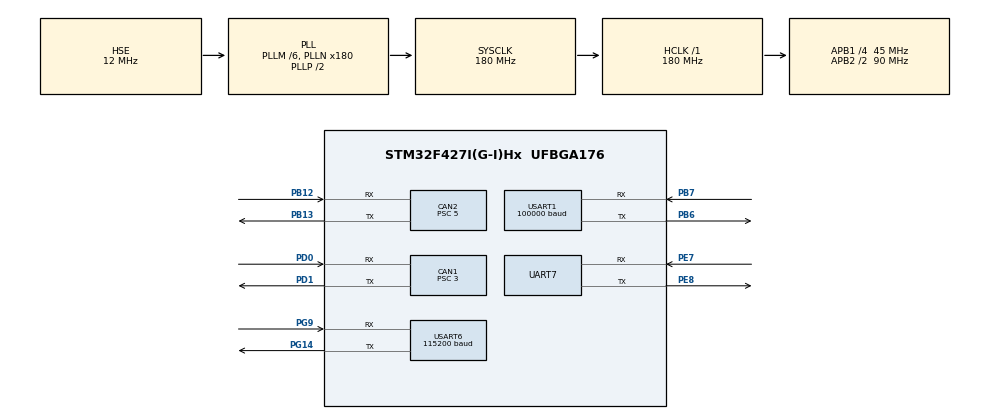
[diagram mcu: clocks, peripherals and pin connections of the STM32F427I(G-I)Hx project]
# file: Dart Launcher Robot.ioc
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CAN1.BS1=CAN_BS1_13TQ
CAN1.CalculateBaudRate=1000000
CAN1.CalculateTimeBit=1000
CAN1.CalculateTimeQuantum=66.66666666666666
CAN1.Prescaler=3
CAN2.BS1=CAN_BS1_7TQ
CAN2.CalculateBaudRate=1000000
CAN2.CalculateTimeBit=1000
CAN2.CalculateTimeQuantum=111.11111111111111
CAN2.Prescaler=5
Dma.Request0=USART1_RX
Dma.Request1=USART6_RX
Dma.Request2=UART7_RX
Dma.Request3=UART7_TX
Dma.Request4=USART6_TX
Dma.UART7_RX.2.Direction=DMA_PERIPH_TO_MEMORY
Dma.UART7_RX.2.FIFOMode=DMA_FIFOMODE_DISABLE
Dma.UART7_RX.2.Instance=DMA1_Stream3
Dma.UART7_RX.2.MemDataAlignment=DMA_MDATAALIGN_BYTE
Dma.UART7_RX.2.MemInc=DMA_MINC_ENABLE
Dma.UART7_RX.2.Mode=DMA_CIRCULAR
Dma.UART7_RX.2.PeriphDataAlignment=DMA_PDATAALIGN_BYTE
Dma.UART7_RX.2.PeriphInc=DMA_PINC_DISABLE
Dma.UART7_RX.2.Priority=DMA_PRIORITY_LOW
Dma.UART7_TX.3.Direction=DMA_MEMORY_TO_PERIPH
Dma.UART7_TX.3.FIFOMode=DMA_FIFOMODE_DISABLE
Dma.UART7_TX.3.Instance=DMA1_Stream1
Dma.UART7_TX.3.MemDataAlignment=DMA_MDATAALIGN_BYTE
Dma.UART7_TX.3.MemInc=DMA_MINC_ENABLE
Dma.UART7_TX.3.Mode=DMA_NORMAL
Dma.UART7_TX.3.PeriphDataAlignment=DMA_PDATAALIGN_BYTE
Dma.UART7_TX.3.PeriphInc=DMA_PINC_DISABLE
Dma.UART7_TX.3.Priority=DMA_PRIORITY_LOW
Dma.USART1_RX.0.Direction=DMA_PERIPH_TO_MEMORY
Dma.USART1_RX.0.FIFOMode=DMA_FIFOMODE_DISABLE
Dma.USART1_RX.0.Instance=DMA2_Stream2
Dma.USART1_RX.0.MemDataAlignment=DMA_MDATAALIGN_BYTE
Dma.USART1_RX.0.MemInc=DMA_MINC_ENABLE
Dma.USART1_RX.0.Mode=DMA_CIRCULAR
Dma.USART1_RX.0.PeriphDataAlignment=DMA_PDATAALIGN_BYTE
Dma.USART1_RX.0.PeriphInc=DMA_PINC_DISABLE
Dma.USART1_RX.0.Priority=DMA_PRIORITY_LOW
Dma.USART6_RX.1.Direction=DMA_PERIPH_TO_MEMORY
Dma.USART6_RX.1.FIFOMode=DMA_FIFOMODE_DISABLE
Dma.USART6_RX.1.Instance=DMA2_Stream1
Dma.USART6_RX.1.MemDataAlignment=DMA_MDATAALIGN_BYTE
Dma.USART6_RX.1.MemInc=DMA_MINC_ENABLE
Dma.USART6_RX.1.Mode=DMA_CIRCULAR
Dma.USART6_RX.1.PeriphDataAlignment=DMA_PDATAALIGN_BYTE
Dma.USART6_RX.1.PeriphInc=DMA_PINC_DISABLE
Dma.USART6_RX.1.Priority=DMA_PRIORITY_LOW
Dma.USART6_TX.4.Direction=DMA_MEMORY_TO_PERIPH
Dma.USART6_TX.4.FIFOMode=DMA_FIFOMODE_DISABLE
Dma.USART6_TX.4.Instance=DMA2_Stream6
Dma.USART6_TX.4.MemDataAlignment=DMA_MDATAALIGN_BYTE
Dma.USART6_TX.4.MemInc=DMA_MINC_ENABLE
Dma.USART6_TX.4.Mode=DMA_NORMAL
Dma.USART6_TX.4.PeriphDataAlignment=DMA_PDATAALIGN_BYTE
Dma.USART6_TX.4.PeriphInc=DMA_PINC_DISABLE
Dma.USART6_TX.4.Priority=DMA_PRIORITY_LOW
Mcu.Family=STM32F4
Mcu.Name=STM32F427I(G-I)Hx
Mcu.Package=UFBGA176
NVIC.CAN1_RX0_IRQn=true\:0\:0\:false\:false\:true\:true\:true\:true
NVIC.CAN1_RX1_IRQn=true\:0\:0\:false\:false\:true\:true\:true\:true
NVIC.CAN1_TX_IRQn=true\:0\:0\:false\:false\:true\:true\:true\:true
NVIC.CAN2_RX0_IRQn=true\:0\:0\:false\:false\:true\:true\:true\:true
NVIC.CAN2_TX_IRQn=true\:0\:0\:false\:false\:true\:true\:true\:true
NVIC.DMA1_Stream1_IRQn=true\:0\:0\:false\:false\:true\:false\:true\:true
NVIC.DMA1_Stream3_IRQn=true\:0\:0\:false\:false\:true\:false\:true\:true
NVIC.DMA2_Stream1_IRQn=true\:0\:0\:false\:false\:true\:false\:true\:true
NVIC.DMA2_Stream2_IRQn=true\:0\:0\:false\:false\:true\:false\:true\:true
NVIC.DMA2_Stream6_IRQn=true\:0\:0\:false\:false\:true\:false\:true\:true
NVIC.FLASH_IRQn=true\:0\:0\:false\:false\:true\:true\:true\:true
NVIC.FPU_IRQn=true\:0\:0\:false\:false\:true\:true\:false\:true
NVIC.PVD_IRQn=true\:0\:0\:false\:false\:true\:true\:true\:true
NVIC.PriorityGroup=NVIC_PRIORITYGROUP_4
NVIC.RCC_IRQn=true\:0\:0\:false\:false\:true\:true\:false\:true
NVIC.TIM1_BRK_TIM9_IRQn=true\:0\:0\:false\:false\:true\:true\:true\:true
NVIC.TIM1_UP_TIM10_IRQn=true\:0\:0\:false\:false\:true\:true\:true\:true
NVIC.TIM2_IRQn=true\:0\:0\:true\:false\:true\:true\:true\:true
NVIC.UART7_IRQn=true\:0\:0\:false\:false\:true\:true\:true\:true
NVIC.USART1_IRQn=true\:0\:0\:false\:false\:true\:true\:true\:true
NVIC.USART6_IRQn=true\:0\:0\:false\:false\:true\:true\:true\:true
PA13.Mode=Serial_Wire
PA13.Signal=SYS_JTMS-SWDIO
PA14.Mode=Serial_Wire
PA14.Signal=SYS_JTCK-SWCLK
PB12.Mode=CAN_Activate
PB12.Signal=CAN2_RX
PB13.Mode=CAN_Activate
PB13.Signal=CAN2_TX
PB6.Mode=Asynchronous
PB6.Signal=USART1_TX
PB7.Mode=Asynchronous
PB7.Signal=USART1_RX
PD0.Mode=CAN_Activate
PD0.Signal=CAN1_RX
PD1.Mode=CAN_Activate
PD1.Signal=CAN1_TX
PE7.Mode=Asynchronous
PE7.Signal=UART7_RX
PE8.Mode=Asynchronous
PE8.Signal=UART7_TX
PG14.Mode=Asynchronous
PG14.Signal=USART6_TX
PG9.Mode=Asynchronous
PG9.Signal=USART6_RX
PH0/OSC_IN.Mode=HSE-External-Oscillator
PH0/OSC_IN.Signal=RCC_OSC_IN
PH1/OSC_OUT.Mode=HSE-External-Oscillator
PH1/OSC_OUT.Signal=RCC_OSC_OUT
ProjectManager.HeapSize=0x200
ProjectManager.StackSize=0x400
ProjectManager.TargetToolchain=CMake
RCC.48MHZClocksFreq_Value=90000000
RCC.AHBFreq_Value=180000000
RCC.APB1CLKDivider=RCC_HCLK_DIV4
RCC.APB1Freq_Value=45000000
RCC.APB1TimFreq_Value=90000000
RCC.APB2CLKDivider=RCC_HCLK_DIV2
RCC.APB2Freq_Value=90000000
RCC.APB2TimFreq_Value=180000000
RCC.CortexFreq_Value=180000000
RCC.HCLKFreq_Value=180000000
RCC.HSE_VALUE=12000000
RCC.HSI_VALUE=16000000
RCC.LSE_VALUE=32768
RCC.PLLM=6
RCC.PLLN=180
RCC.PLLSourceVirtual=RCC_PLLSOURCE_HSE
RCC.SYSCLKFreq_VALUE=180000000
RCC.SYSCLKSource=RCC_SYSCLKSOURCE_PLLCLK
RCC.VCOOutputFreq_Value=360000000
STMicroelectronics.X-CUBE-ALGOBUILD.1.5.0.LibraryCcDSPOoLibraryJjDSPOoLibrary=true
TIM1.AutoReloadPreload=TIM_AUTORELOAD_PRELOAD_ENABLE
TIM1.Period=999
TIM1.Prescaler=179
TIM2.AutoReloadPreload=TIM_AUTORELOAD_PRELOAD_ENABLE
TIM2.Period=999
TIM2.Prescaler=89
UART7.VirtualMode=Asynchronous
USART1.BaudRate=100000
USART1.Parity=PARITY_EVEN
USART1.StopBits=STOPBITS_2
USART1.VirtualMode=VM_ASYNC
USART6.BaudRate=115200
USART6.VirtualMode=VM_ASYNC
VP_RTC_VS_RTC_Activate.Mode=RTC_Enabled
VP_STMicroelectronics.X-CUBE-ALGOBUILD_VS_DSPOoLibraryJjLibrary_1.5.0_1.5.0.Mode=DSPOoLibraryJjLibrary
VP_TIM1_VS_ClockSourceINT.Mode=Internal
VP_TIM2_VS_ClockSourceINT.Mode=Internal
board=custom

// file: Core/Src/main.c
/* USER CODE BEGIN Header */
/**
  ******************************************************************************
  * @file           : main.c
  * @brief          : Main program body
  ******************************************************************************
  * @attention
  *
  * Copyright (c) 2025 STMicroelectronics.
  * All rights reserved.
  *
  * This software is licensed under terms that can be found in the LICENSE file
  * in the root directory of this software component.
  * If no LICENSE file comes with this software, it is provided AS-IS.
  *
  ******************************************************************************
  */
/* USER CODE END Header */
#include "main.h"
#include "can.h"
#include "dma.h"
#include "rtc.h"
#include "tim.h"
#include "usart.h"
#include "gpio.h"

/* USER CODE BEGIN Includes */
#include "bsp_can.h"
#include "pid.h"
#include "gimbal_motor.h"
#include "stdio.h"
#include "remote_control.h"
#include "chassis_behaviour.h"
#include "arm_math.h"
#include <math.h>
#include <stdint.h>
#include <stdio.h>
#include "vofa.h"
#include "WT901.h"
/* USER CODE END Includes */

void SystemClock_Config(void);

/* USER CODE BEGIN 0 */
// float target=2000;
float error;
int16_t voltage;
/* USER CODE END 0 */

int main(void)
{

  /* Reset of all peripherals, Initializes the Flash interface and the Systick. */
  HAL_Init();

  /* Configure the system clock */
  SystemClock_Config();

  /* Initialize all configured peripherals */
  MX_GPIO_Init();
  MX_DMA_Init();
  MX_CAN1_Init();
  MX_CAN2_Init();
  MX_RTC_Init();
  MX_TIM1_Init();
  MX_USART1_UART_Init();
  MX_USART6_UART_Init();
  MX_UART7_Init();
  MX_TIM2_Init();
  /* USER CODE BEGIN 2 */
	can_filter_init();
  vofa_init();
	remote_control_init();
  Wit901c_Init();

	//������ʱ
  HAL_Delay(500);//9.5

/*等待WT901成功解析第一帧*/
while (wit901c_data.opened==0U) {
can1_one(0);
HAL_Delay(1);
}
/*此时才记录当前Yaw并启动TIM2*/
gimbal_imu_yaw_start();

// uint32_t imu_last_ok_count = wit_ok_count;
// float zero_angle = (float)GIMBAL_CAN1[0].angle;

  /* USER CODE END 2 */

  /* Infinite loop */
  /* USER CODE BEGIN WHILE */

  while (1)
  {

// vofa_send(wit901c_data.angle[0],
//           wit901c_data.angle[1],
//           wit901c_data.angle[2]);
  //  uint32_t now = HAL_GetTick();

  //   // 云台 1ms 控制一次
  //   if(now - gimbal_tick >= 1)
  //   {
  //       gimbal_tick = now;

  //       if(rc_ctrl.rc.SC < -300)   // 小陀螺模式
  //       {
  //           voltage = gimbal_angle_control(GIMBAL_ZERO_ANGLE);
  //           can1_one(voltage);
  //       }
  //       else
  //       {
  //           can1_one(0);
  //       }
  //   }

  //   // 底盘 20ms 控制一次
  //   if(now - chassis_tick >= 20)
  //   {
  //       chassis_tick = now;
  //       remote_control_chassis();
  //   }
  // remote_control_chassis();
    // float target_speed = get_sa_target_speed();
    // float current_speed = (float)GIMBAL_CAN1[0].speed_rpm;
    // error = target_speed - current_speed;
    // voltage = (int16_t)PID_Compute(&gimbal_speed_pid, error);
  //  can1_one(voltage);
// uint32_t now = HAL_GetTick();

    // vofa_send(target_speed, (float)GIMBAL_CAN1[0].speed_rpm, 0);

//     float target_angle = 0;
//     if (rc_ctrl.rc.SD<-300) {
//     target_angle=GIMBAL_ZERO_ANGLE+GIMBAL_ANGLE_90;

//     }
//   else if (rc_ctrl.rc.SD>300)
//   {
//   target_angle=GIMBAL_ZERO_ANGLE-GIMBAL_ANGLE_90;

//   }
//   else {
//   target_angle =GIMBAL_ZERO_ANGLE;

//   }
//   target_angle = gimbal_angle_format(target_angle);
//   voltage=gimbal_angle_control(target_angle);
  // can1_one(voltage);

// vofa_send(target_angle, (float)GIMBAL_CAN1[0].angle, (float)voltage);

  gimbal_imu_yaw_task();

	}

    /* USER CODE END WHILE */

}

void SystemClock_Config(void)
{
  RCC_OscInitTypeDef RCC_OscInitStruct = {0};
  RCC_ClkInitTypeDef RCC_ClkInitStruct = {0};

  /** Configure the main internal regulator output voltage
  */
  __HAL_RCC_PWR_CLK_ENABLE();
  __HAL_PWR_VOLTAGESCALING_CONFIG(PWR_REGULATOR_VOLTAGE_SCALE1);

  /** Initializes the RCC Oscillators according to the specified parameters
  * in the RCC_OscInitTypeDef structure.
  */
  RCC_OscInitStruct.OscillatorType = RCC_OSCILLATORTYPE_LSI|RCC_OSCILLATORTYPE_HSE;
  RCC_OscInitStruct.HSEState = RCC_HSE_ON;
  RCC_OscInitStruct.LSIState = RCC_LSI_ON;
  RCC_OscInitStruct.PLL.PLLState = RCC_PLL_ON;
  RCC_OscInitStruct.PLL.PLLSource = RCC_PLLSOURCE_HSE;
  RCC_OscInitStruct.PLL.PLLM = 6;
  RCC_OscInitStruct.PLL.PLLN = 180;
  RCC_OscInitStruct.PLL.PLLP = RCC_PLLP_DIV2;
  RCC_OscInitStruct.PLL.PLLQ = 4;
  if (HAL_RCC_OscConfig(&RCC_OscInitStruct) != HAL_OK)
  {
    Error_Handler();
  }

  /** Activate the Over-Drive mode
  */
  if (HAL_PWREx_EnableOverDrive() != HAL_OK)
  {
    Error_Handler();
  }

  /** Initializes the CPU, AHB and APB buses clocks
  */
  RCC_ClkInitStruct.ClockType = RCC_CLOCKTYPE_HCLK|RCC_CLOCKTYPE_SYSCLK
                              |RCC_CLOCKTYPE_PCLK1|RCC_CLOCKTYPE_PCLK2;
  RCC_ClkInitStruct.SYSCLKSource = RCC_SYSCLKSOURCE_PLLCLK;
  RCC_ClkInitStruct.AHBCLKDivider = RCC_SYSCLK_DIV1;
  RCC_ClkInitStruct.APB1CLKDivider = RCC_HCLK_DIV4;
  RCC_ClkInitStruct.APB2CLKDivider = RCC_HCLK_DIV2;

  if (HAL_RCC_ClockConfig(&RCC_ClkInitStruct, FLASH_LATENCY_5) != HAL_OK)
  {
    Error_Handler();
  }
}

void Error_Handler(void)
{
  __disable_irq();
  while (1)
  {
  }
}
